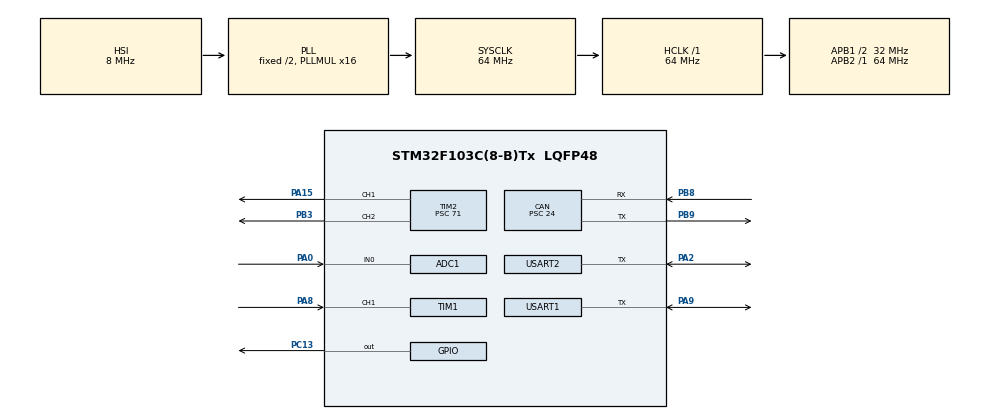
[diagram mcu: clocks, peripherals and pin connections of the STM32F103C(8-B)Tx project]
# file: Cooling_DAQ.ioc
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ADC1.Channel-1\#ChannelRegularConversion=ADC_CHANNEL_0
ADC1.ContinuousConvMode=ENABLE
ADC1.NbrOfConversionFlag=1
ADC1.Rank-1\#ChannelRegularConversion=1
ADC1.SamplingTime-1\#ChannelRegularConversion=ADC_SAMPLETIME_239CYCLES_5
ADC1.master=1
CAN.BS1=CAN_BS1_2TQ
CAN.BS2=CAN_BS2_3TQ
CAN.CalculateBaudRate=249999
CAN.CalculateTimeBit=4000
CAN.CalculateTimeQuantum=666.6666666666667
CAN.NART=ENABLE
CAN.Prescaler=24
Dma.ADC1.4.Direction=DMA_PERIPH_TO_MEMORY
Dma.ADC1.4.Instance=DMA1_Channel1
Dma.ADC1.4.MemDataAlignment=DMA_MDATAALIGN_HALFWORD
Dma.ADC1.4.MemInc=DMA_MINC_ENABLE
Dma.ADC1.4.Mode=DMA_CIRCULAR
Dma.ADC1.4.PeriphDataAlignment=DMA_PDATAALIGN_HALFWORD
Dma.ADC1.4.PeriphInc=DMA_PINC_DISABLE
Dma.ADC1.4.Priority=DMA_PRIORITY_LOW
Dma.Request0=USART1_RX
Dma.Request1=USART1_TX
Dma.Request2=USART2_TX
Dma.Request3=USART2_RX
Dma.Request4=ADC1
Dma.USART1_RX.0.Direction=DMA_PERIPH_TO_MEMORY
Dma.USART1_RX.0.Instance=DMA1_Channel5
Dma.USART1_RX.0.MemDataAlignment=DMA_MDATAALIGN_BYTE
Dma.USART1_RX.0.MemInc=DMA_MINC_ENABLE
Dma.USART1_RX.0.Mode=DMA_NORMAL
Dma.USART1_RX.0.PeriphDataAlignment=DMA_PDATAALIGN_BYTE
Dma.USART1_RX.0.PeriphInc=DMA_PINC_DISABLE
Dma.USART1_RX.0.Priority=DMA_PRIORITY_LOW
Dma.USART1_TX.1.Direction=DMA_MEMORY_TO_PERIPH
Dma.USART1_TX.1.Instance=DMA1_Channel4
Dma.USART1_TX.1.MemDataAlignment=DMA_MDATAALIGN_BYTE
Dma.USART1_TX.1.MemInc=DMA_MINC_ENABLE
Dma.USART1_TX.1.Mode=DMA_NORMAL
Dma.USART1_TX.1.PeriphDataAlignment=DMA_PDATAALIGN_BYTE
Dma.USART1_TX.1.PeriphInc=DMA_PINC_DISABLE
Dma.USART1_TX.1.Priority=DMA_PRIORITY_LOW
Dma.USART2_RX.3.Direction=DMA_PERIPH_TO_MEMORY
Dma.USART2_RX.3.Instance=DMA1_Channel6
Dma.USART2_RX.3.MemDataAlignment=DMA_MDATAALIGN_BYTE
Dma.USART2_RX.3.MemInc=DMA_MINC_ENABLE
Dma.USART2_RX.3.Mode=DMA_NORMAL
Dma.USART2_RX.3.PeriphDataAlignment=DMA_PDATAALIGN_BYTE
Dma.USART2_RX.3.PeriphInc=DMA_PINC_DISABLE
Dma.USART2_RX.3.Priority=DMA_PRIORITY_LOW
Dma.USART2_TX.2.Direction=DMA_MEMORY_TO_PERIPH
Dma.USART2_TX.2.Instance=DMA1_Channel7
Dma.USART2_TX.2.MemDataAlignment=DMA_MDATAALIGN_BYTE
Dma.USART2_TX.2.MemInc=DMA_MINC_ENABLE
Dma.USART2_TX.2.Mode=DMA_NORMAL
Dma.USART2_TX.2.PeriphDataAlignment=DMA_PDATAALIGN_BYTE
Dma.USART2_TX.2.PeriphInc=DMA_PINC_DISABLE
Dma.USART2_TX.2.Priority=DMA_PRIORITY_LOW
Mcu.Family=STM32F1
Mcu.Name=STM32F103C(8-B)Tx
Mcu.Package=LQFP48
NVIC.CAN1_RX1_IRQn=true\:0\:0\:false\:false\:true\:true\:true\:true
NVIC.DMA1_Channel1_IRQn=true\:0\:0\:false\:false\:true\:false\:true\:true
NVIC.DMA1_Channel4_IRQn=true\:0\:0\:false\:false\:true\:false\:true\:true
NVIC.DMA1_Channel5_IRQn=true\:0\:0\:false\:false\:true\:false\:true\:true
NVIC.DMA1_Channel6_IRQn=true\:0\:0\:false\:false\:true\:false\:true\:true
NVIC.DMA1_Channel7_IRQn=true\:0\:0\:false\:false\:true\:false\:true\:true
NVIC.PriorityGroup=NVIC_PRIORITYGROUP_4
NVIC.TIM1_CC_IRQn=true\:0\:0\:false\:false\:true\:true\:true\:true
NVIC.USART1_IRQn=true\:0\:0\:false\:false\:true\:true\:true\:true
NVIC.USART2_IRQn=true\:0\:0\:false\:false\:true\:true\:true\:true
NVIC.USB_HP_CAN1_TX_IRQn=true\:0\:0\:false\:false\:true\:true\:true\:true
PA0-WKUP.Signal=ADCx_IN0
PA13.Mode=Serial_Wire
PA13.Signal=SYS_JTMS-SWDIO
PA14.Mode=Serial_Wire
PA14.Signal=SYS_JTCK-SWCLK
PA15.Signal=S_TIM2_CH1_ETR
PA2.Mode=Half_duplex(single_wire_mode)
PA2.Signal=USART2_TX
PA8.Signal=S_TIM1_CH1
PA9.GPIO_Mode=GPIO_MODE_AF_OD
PA9.GPIO_Speed=GPIO_SPEED_FREQ_MEDIUM
PA9.Mode=Half_duplex(single_wire_mode)
PA9.Signal=USART1_TX
PB3.Signal=S_TIM2_CH2
PB8.Mode=CAN_Activate
PB8.Signal=CAN_RX
PB9.Mode=CAN_Activate
PB9.Signal=CAN_TX
PC13-TAMPER-RTC.GPIO_ModeDefaultOutputPP=GPIO_MODE_OUTPUT_PP
PC13-TAMPER-RTC.GPIO_PuPd=GPIO_PULLDOWN
PC13-TAMPER-RTC.PinState=GPIO_PIN_RESET
PC13-TAMPER-RTC.Signal=GPIO_Output
ProjectManager.HeapSize=0x200
ProjectManager.StackSize=0x400
ProjectManager.TargetToolchain=CMake
RCC.ADCPresc=RCC_ADCPCLK2_DIV6
RCC.AHBFreq_Value=64000000
RCC.APB1CLKDivider=RCC_HCLK_DIV2
RCC.APB1Freq_Value=32000000
RCC.APB1TimFreq_Value=64000000
RCC.APB2Freq_Value=64000000
RCC.APB2TimFreq_Value=64000000
RCC.HCLKFreq_Value=64000000
RCC.PLLMUL=RCC_PLL_MUL16
RCC.SYSCLKFreq_VALUE=64000000
RCC.SYSCLKSource=RCC_SYSCLKSOURCE_PLLCLK
RCC.USBFreq_Value=42666666.666666664
RCC.USBPrescaler=RCC_USBCLKSOURCE_PLL_DIV1_5
SH.ADCx_IN0.0=ADC1_IN0,IN0
SH.S_TIM1_CH1.0=TIM1_CH1,Input_Capture1_from_TI1
SH.S_TIM2_CH1_ETR.0=TIM2_CH1,PWM Generation1 CH1
SH.S_TIM2_CH2.0=TIM2_CH2,PWM Generation2 CH2
TIM1.Channel-Input_Capture1_from_TI1=TIM_CHANNEL_1
TIM1.Prescaler=7199
TIM2.AutoReloadPreload=TIM_AUTORELOAD_PRELOAD_ENABLE
TIM2.Channel-PWM\ Generation1\ CH1=TIM_CHANNEL_1
TIM2.Channel-PWM\ Generation2\ CH2=TIM_CHANNEL_2
TIM2.OCPolarity_1=TIM_OCPOLARITY_HIGH
TIM2.OCPolarity_2=TIM_OCPOLARITY_LOW
TIM2.Period=499
TIM2.Prescaler=71
USART1.BaudRate=115200
USART1.VirtualMode=VM_ASYNC
USART2.VirtualMode=VM_ASYNC
VP_TIM1_VS_ClockSourceINT.Mode=Internal
VP_TIM2_VS_ClockSourceINT.Mode=Internal
board=custom

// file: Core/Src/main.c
/* USER CODE BEGIN Header */
/**
 ******************************************************************************
 * @file           : main.c
 * @brief          : Main program body
 ******************************************************************************
 * @attention
 *
 * Copyright (c) 2025 STMicroelectronics.
 * All rights reserved.
 *
 * This software is licensed under terms that can be found in the LICENSE file
 * in the root directory of this software component.
 * If no LICENSE file comes with this software, it is provided AS-IS.
 *
 ******************************************************************************
 */
/* USER CODE END Header */
#include "main.h"

#include "adc.h"
#include "can.h"
#include "dma.h"
#include "gpio.h"
#include "tim.h"
#include "usart.h"

/* USER CODE BEGIN Includes */
#include "SEGGER_RTT.h"
#include "Sensors.h"
#include "daq_payload.h"
/* USER CODE END Includes */

/* USER CODE BEGIN PV */
static float* flow_rate;
// static int* isRxed;

/* USER CODE END PV */

void SystemClock_Config(void);

/* USER CODE BEGIN 0 */
extern uint8_t FAN_PWM;
extern uint8_t PUMP_PWM;
/* USER CODE END 0 */

int main(void) {
  /* USER CODE BEGIN 1 */
  uint16_t voltage;
  uint16_t result;
  /* USER CODE END 1 */

  /* MCU Configuration--------------------------------------------------------*/

  /* Reset of all peripherals, Initializes the Flash interface and the Systick. */
  HAL_Init();

  /* USER CODE BEGIN Init */
  SEGGER_RTT_Init();
  SEGGER_RTT_WriteString(0, "Reached main\r\n");

  SEGGER_RTT_WriteString(0, "HAL_Init OK\r\n");

  SEGGER_RTT_WriteString(0, "Before SystemClock_Config\r\n");
  SystemClock_Config();
  SEGGER_RTT_WriteString(0, "After SystemClock_Config\r\n");
  /* USER CODE END Init */

  /* Configure the system clock */
  // SystemClock_Config();

  /* Initialize all configured peripherals */
  MX_GPIO_Init();
  MX_DMA_Init();
  MX_USART1_UART_Init();
  MX_USART2_UART_Init();
  MX_ADC1_Init();
  MX_TIM1_Init();
  MX_CAN_Init();
  MX_TIM2_Init();
  /* USER CODE BEGIN 2 */
  // HAL_Delay(500);
  SEGGER_RTT_printf(0, "start\n");
  flow_rate = fetch_flowrate();
  HAL_TIM_IC_Start_IT(&htim1, TIM_CHANNEL_1);
  HAL_TIM_IC_Start(&htim1, TIM_CHANNEL_1);
  if (HAL_ADC_Start_DMA(&hadc1, (uint32_t*)&voltage, 1) != HAL_OK) {
    SEGGER_RTT_printf(0, "ADC initialization error!\n");
  }

  bsp_can1_filter_config();
  HAL_CAN_Start(&hcan);
  HAL_CAN_ActivateNotification(&hcan, CAN_IT_RX_FIFO0_MSG_PENDING);

  HAL_TIM_PWM_Start(&htim2, TIM_CHANNEL_1);  // FAN
  HAL_TIM_PWM_Start(&htim2, TIM_CHANNEL_2);  // PUMP

  SetFanDuty(60);   // FAN
  SetPumpDuty(70);  // PUMP

  DS18B20_SampleTemp(&huart1);  // starting first time is to avoid reading null value
  // DS18B20_SampleTemp(&huart2);
  /* USER CODE END 2 */

  /* Infinite loop */
  /* USER CODE BEGIN WHILE */
  while (1) {
    SEGGER_RTT_printf(0, "tick=%lu\r\n", HAL_GetTick());
    HAL_GPIO_TogglePin(GPIOC, GPIO_PIN_13);

    int t_pre = DS18B20_ReadTemp(&huart1);
    SEGGER_RTT_printf(0, "time: %d, temperature_1: %d\n", HAL_GetTick(), t_pre);
    int t_post = DS18B20_ReadTemp(&huart2);
    SEGGER_RTT_printf(0, "time: %d, temperature_2: %d\n", HAL_GetTick(), t_post);

    DAQData_to_DataLogger[DAQ_PRE_TEMP] = (uint8_t)t_pre;
    DAQData_to_DataLogger[DAQ_POST_TEMP] = (uint8_t)t_post;

    DS18B20_SampleTemp(&huart1);
    DS18B20_SampleTemp(&huart2);

    result = voltage * 3300 / 4095;
    SEGGER_RTT_printf(0, "voltage = %d\n", result);

    SEGGER_RTT_printf(0, "flow rate = %d mL/min\n", (int)*flow_rate);

    HAL_Delay(500);

    DAQData_to_DataLogger[DAQ_PRESSURE_H] = (result >> 8) & 0xFF;  // PRESSURE(H)
    DAQData_to_DataLogger[DAQ_PRESSURE_L] = result & 0xFF;         // PRESSURE(L)

    DAQData_to_DataLogger[DAQ_FLOW_H] = ((int)*flow_rate >> 8) & 0xFF;  // FLOW_RATE(H)
    DAQData_to_DataLogger[DAQ_FLOW_L] = (int)*flow_rate & 0xFF;         // FLOW_RATE(L)
    DAQData_to_DataLogger[DAQ_FAN_PWM] = FAN_PWM;                       // FAN_PWM
    DAQData_to_DataLogger[DAQ_PUMP_PWM] = PUMP_PWM;                     // PUMP_PWM
    /* USER CODE END WHILE */

    /* USER CODE BEGIN 3 */
    if (g_daq_enabled) {
      if (!CAN_SendMsg(CA_DAQ_DATA, DAQData_to_DataLogger)) {
        SEGGER_RTT_printf(0, "CAN TX timeout or fail\n");
      }
    }
    HAL_Delay(500);
  }
  /* USER CODE END 3 */
}

void SystemClock_Config(void) {
  RCC_OscInitTypeDef RCC_OscInitStruct = {0};
  RCC_ClkInitTypeDef RCC_ClkInitStruct = {0};
  RCC_PeriphCLKInitTypeDef PeriphClkInit = {0};

  /** Initializes the RCC Oscillators according to the specified parameters
   * in the RCC_OscInitTypeDef structure.
   */
  RCC_OscInitStruct.OscillatorType = RCC_OSCILLATORTYPE_HSI;
  RCC_OscInitStruct.HSIState = RCC_HSI_ON;
  RCC_OscInitStruct.HSICalibrationValue = RCC_HSICALIBRATION_DEFAULT;
  RCC_OscInitStruct.PLL.PLLState = RCC_PLL_ON;
  RCC_OscInitStruct.PLL.PLLSource = RCC_PLLSOURCE_HSI_DIV2;
  RCC_OscInitStruct.PLL.PLLMUL = RCC_PLL_MUL16;
  if (HAL_RCC_OscConfig(&RCC_OscInitStruct) != HAL_OK) {
    Error_Handler();
  }

  /** Initializes the CPU, AHB and APB buses clocks
   */
  RCC_ClkInitStruct.ClockType =
      RCC_CLOCKTYPE_HCLK | RCC_CLOCKTYPE_SYSCLK | RCC_CLOCKTYPE_PCLK1 | RCC_CLOCKTYPE_PCLK2;
  RCC_ClkInitStruct.SYSCLKSource = RCC_SYSCLKSOURCE_PLLCLK;
  RCC_ClkInitStruct.AHBCLKDivider = RCC_SYSCLK_DIV1;
  RCC_ClkInitStruct.APB1CLKDivider = RCC_HCLK_DIV2;
  RCC_ClkInitStruct.APB2CLKDivider = RCC_HCLK_DIV1;

  if (HAL_RCC_ClockConfig(&RCC_ClkInitStruct, FLASH_LATENCY_2) != HAL_OK) {
    Error_Handler();
  }
  PeriphClkInit.PeriphClockSelection = RCC_PERIPHCLK_ADC;
  PeriphClkInit.AdcClockSelection = RCC_ADCPCLK2_DIV6;
  if (HAL_RCCEx_PeriphCLKConfig(&PeriphClkInit) != HAL_OK) {
    Error_Handler();
  }
}

void Error_Handler(void) {
  __disable_irq();
  while (1) {
  }
}
